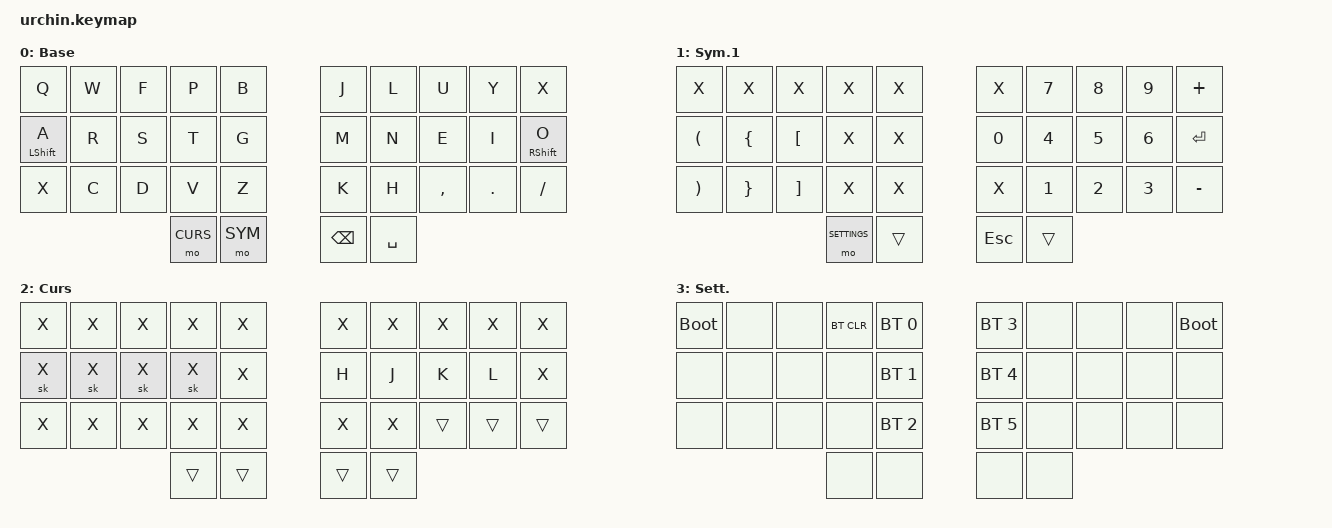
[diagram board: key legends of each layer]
/*
 * Copyright (c) 2020 duckyb
 *
 * SPDX-License-Identifier: MIT
 */

#include <behaviors.dtsi>
#include <dt-bindings/zmk/keys.h>
#include <dt-bindings/zmk/bt.h>
#include <dt-bindings/zmk/outputs.h>
//#include "keymap_italian.h"

// Layer definitions
#define BASE 0
#define SYM 1
#define CURS 2
//#define FNC 3
//#define SYM2 4
//#define ACCENT 5
#define SETTINGS 3
// -----------------

//&sk {
//  // don't release mods on other mods presses
//  ignore-modifiers;
//};


/ {
    behaviors {
//      // Enables holding the first mod-tap key
//      // by performing a tap-release-hold sequence.
//      // To use it: "&qt KEYCODE1 KEYCODE2"
//      qt: quick_tap {
//          compatible = "zmk,behavior-hold-tap";
//          label = "QUICK_TAP";
//          #binding-cells = <2>;
//          flavor = "hold-preferred";
//          tapping-term-ms = <200>;
//          quick-tap-ms = <200>;
//          bindings = <&kp>, <&kp>;
//      };

        bhm: balanced_homerow_mods {
            compatible = "zmk,behavior-hold-tap";
            label = "HOMEROW_MODS";
            #binding-cells = <2>;
            tapping-term-ms = <200>;
            quick-tap-ms = <0>;
            flavor = "balanced";
            bindings = <&kp>, <&kp>;
        };
    };

//  macros {
//      // sometimes my device thinks a modifier is being held down
//      // pressing all modifiers fixes it.
//      unstick: unstick {
//          label = "ZM_unstick";
//          compatible = "zmk,behavior-macro";
//          #binding-cells = <0>;
//          bindings = <&kp LSHIFT &kp RSHIFT &kp LCTRL &kp RCTRL &kp LALT &kp RALT &kp LGUI &kp RGUI>;
//      };
//  };

//  combos {
//      compatible = "zmk,combos";
//      // both right thumb keys
//      combo_accent {
//          timeout-ms = <200>;
//          key-positions = <32 33>;
//          bindings = <&mo ACCENT>;
//      };
//      // internal-left & external-right thumb keys
//      combo_sym2 {
//          timeout-ms = <200>;
//          key-positions = <31 33>;
//          bindings = <&mo SYM2>;
//      };
//      // both left thumb keys
//      combo_settings {
//          timeout-ms = <200>;
//          key-positions = <30 31>;
//          bindings = <&mo SETTINGS>;
//      };
//      // left index & middle fingers (home-row)
//      // hold control & space for Adobe workflow
//      combo_ctrl_space {
//          timeout-ms = <200>;
//          key-positions = <12 13>;
//          bindings = <&kp LC(SPACE)>;
//          layers = <BASE>;
//      };
//  };

    keymap {
        compatible = "zmk,keymap";
        // Base alpha layer
        default_layer {
            label = "Base";
            bindings = <
            &kp Q           &kp W       &kp F &kp P &kp B            &kp J           &kp L  &kp U     &kp Y     &kp X
            &bhm LSHIFT A   &kp R       &kp S &kp T &kp G            &kp M           &kp N  &kp E     &kp I     &bhm RSHIFT O
            &kp X           &kp C       &kp D &kp V &kp Z            &kp K           &kp H  &kp COMMA &kp DOT   &kp SLASH
                            &mo CURS  &mo SYM                      &kp BACKSPACE   &kp SPACE
            >;
        };

        // Numbers and high frequency symbols
        sym_layer {
            label = "Sym.1";
            bindings = <
            &kp X &kp X &kp X &kp X &kp X                &kp X     &kp N7   &kp N8   &kp N9   &kp PLUS
            &kp LPAR &kp LBRC &kp LBKT &kp X &kp X       &kp N0    &kp N4   &kp N5   &kp N6   &kp ENTER
            &kp RPAR &kp RBRC &kp RBKT &kp X &kp X       &kp X     &kp N1   &kp N2   &kp N3   &kp MINUS
                               &mo SETTINGS  &trans       &kp ESCAPE &trans
            >;
        };

      // Allow hjkl for vim usage, will also put other shit here
      ext_layer {
          label = "Curs";
          bindings = <
          &kp X  &kp X &kp X  &kp X  &kp X       &kp X  &kp X &kp X &kp X &kp X
          &sk X &sk X  &sk X  &sk X  &kp X          &kp H &kp J  &kp K  &kp L   &kp X
          &kp X  &kp X &kp X &kp X   &kp X          &kp X &kp X &trans &trans  &trans
                                          &trans &trans                 &trans  &trans
          >;
      };

//      // Function keys with modifiers
//      fnc_layer {
//          label = "FRow";
//          bindings = <
//          &kp F1 &kp F2 &kp F3 &kp F4 &kp F5                  &kp F6 &kp F7 &kp F8 &kp F9 &kp F10 
//          &sk LALT &sk LGUI &sk LSHIFT &sk LCTRL &kp RALT     &kp F11 &kp F12  &kp PRINTSCREEN &trans &trans
//          &none &none &none &none &none                         &none &none &none &none &none 
//                            &none &none              &none &none  
//          >;
//      };
//
//      // Low frequency symbols.
//      symbols_2_layer {
//          label = "Sym.2";
//          bindings = <
//          &kp IT_CARET &kp IT_UNDER &kp IT_PND &kp IT_EUR &kp IT_HASH         &none &none &none &none &none 
//          &kp IT_BKTK &kp IT_TILDE &kp IT_BSLH &kp IT_PIPE &kp IT_AND         &none &none &none &none &none
//          &none           &none            &kp IT_SECT &kp IT_CCED &kp IT_DEG               &none &none &none &none &none
//                                                                  &none &none         &none &none 
//          >;
//      };
//
//      // Used to type regional accents.
//      accent_layer {
//          label = "Accent";
//          bindings = <
//          &none &none &none &kp IT_CEGR &none                         &none &none &none &none &none 
//          &kp IT_AGRV &kp IT_IGRV &kp IT_OGRV &kp IT_EGRV &kp IT_EACU &none &none &none &none &none
//          &none &none &none &kp IT_UGRV &none                         &none &none &none &none &none
//                                  &none &none                         &none &none 
//          >;
//      };
//
        // Used to change the keyboard's settings.
        settings_layer {
                label = "Sett.";
                bindings = <
                &bootloader &none &none &bt BT_CLR &bt BT_SEL 0               &bt BT_SEL 3 &none &none &none &bootloader 
                &none &none &none &none            &bt BT_SEL 1               &bt BT_SEL 4 &none &none &none &none
                &none &none &none &none            &bt BT_SEL 2               &bt BT_SEL 5 &none &none &none &none
                                        &none &none                         &none &none 
                >;
        };
    };
};
